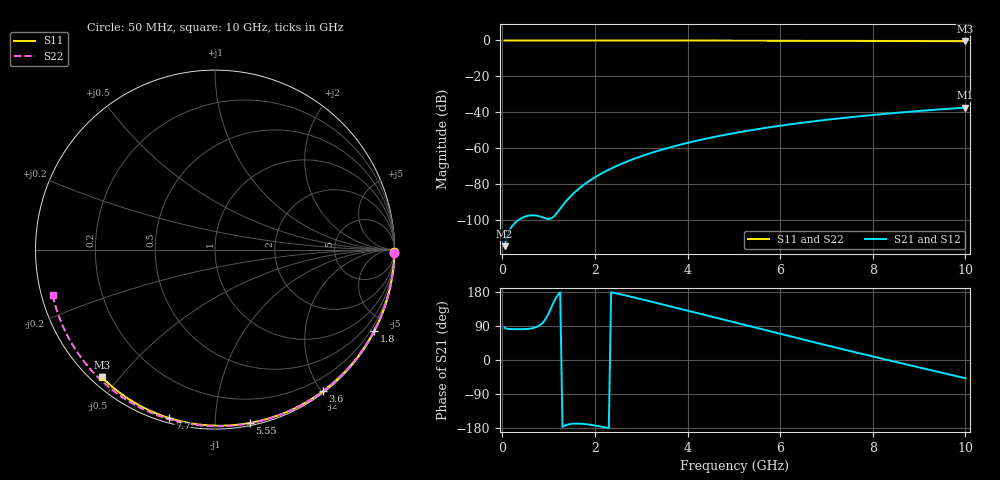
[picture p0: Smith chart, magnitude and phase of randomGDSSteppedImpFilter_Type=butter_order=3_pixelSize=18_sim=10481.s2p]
! freq	dB(S11)	phase(S11)	dB(S12)	phase(S12)
!  dB(S21)	phase(S21)	dB(S22)	phase(S22)
!S-par simulation data
#  GHz  S  DB  R 50
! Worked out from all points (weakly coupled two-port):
!   200 points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, 50 MHz to 10 GHz, reference 50 ohm
!   highest |S21| = -37.34 dB at 10 GHz (marker M1); lowest = -114.4 dB at 50 MHz (marker M2)
!   lowest |S11| = -0.4 dB at 10 GHz (marker M3), VSWR 39.04, Z = 1.54 - j22.5 ohm
!   |S11| at or under -10 dB: nowhere
!   |S22| runs from -0.5 to 0.0 dB; largest |S21 - S12| = 0
!   S11 on the Smith chart (normalised r, x): 50 MHz: open; 1.8 GHz: 0.04, -4.17; 3.6 GHz: 0.02, -2.02; 5.55 GHz: 0.02, -1.22; 7.7 GHz: 0.02, -0.77; 10 GHz: 0.03, -0.45
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0.05  -0.00 -0.8  -114.35 84.9  -114.35 84.9  -0.00 -1.0
0.45  -0.01 -6.8  -98.31 81.4  -98.31 81.4  -0.01 -8.6
0.85  -0.02 -12.9  -98.13 95.6  -98.13 95.6  -0.02 -16.2
1.3  -0.02 -19.6  -91.83 -176.5  -91.83 -176.5  -0.03 -24.6
1.75  -0.03 -26.2  -80.42 -168.6  -80.42 -168.6  -0.04 -32.9
1.8  -0.03 -27.0  -79.47 -169.3  -79.47 -169.3  -0.04 -33.9
1.95  -0.04 -29.2  -76.86 -171.8  -76.86 -171.8  -0.05 -36.6
2.1  -0.04 -31.4  -74.55 -175.0  -74.55 -175.0  -0.05 -39.3
2.3  -0.04 -34.3  -71.82 -179.9  -71.82 -179.9  -0.06 -43.0
2.5  -0.05 -37.2  -69.41 174.8  -69.41 174.8  -0.06 -46.6
2.9  -0.06 -42.9  -65.28 163.4  -65.28 163.4  -0.07 -53.7
3.4  -0.07 -49.9  -61.05 148.5  -61.05 148.5  -0.08 -62.4
3.6  -0.07 -52.7  -59.58 142.4  -59.58 142.4  -0.09 -65.8
4.3  -0.09 -62.3  -55.14 121.0  -55.14 121.0  -0.11 -77.6
5.05  -0.11 -72.3  -51.31 97.9  -51.31 97.9  -0.14 -89.7
5.55  -0.13 -78.7  -49.14 82.6  -49.14 82.6  -0.16 -97.6
6.1  -0.15 -85.7  -47.04 65.8  -47.04 65.8  -0.19 -106.2
6.7  -0.18 -93.1  -45.02 47.8  -45.02 47.8  -0.22 -115.3
7.7  -0.24 -105.1  -42.17 18.1  -42.17 18.1  -0.30 -130.2
8.35  -0.29 -112.7  -40.59 -0.9  -40.59 -0.9  -0.36 -139.8
9.2  -0.36 -122.5  -38.79 -25.3  -38.79 -25.3  -0.45 -152.4
10  -0.45 -131.5  -37.34 -48.1  -37.34 -48.1  -0.55 -164.5
